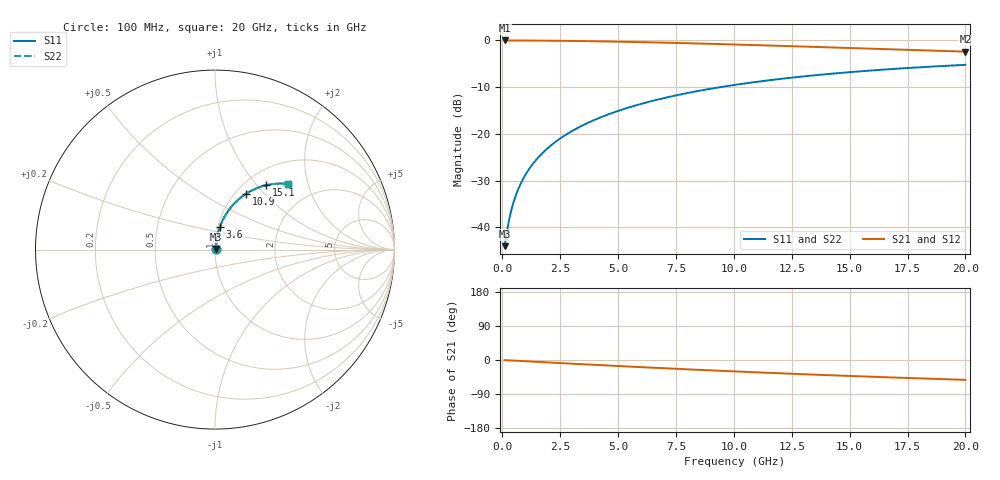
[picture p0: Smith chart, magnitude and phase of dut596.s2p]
! Touchstone file exported from HFSS 2024.1.0
!  File:  C:/UserFiles/LocalFiles/RDL_TSV_Batchsim/temp_RDL_top_596_1779682654.aedt
!  Generated:  12:20:27 PM May 25, 2026
!  Design:  RDL_top
!  Project:  temp_RDL_top_596_1779682654
!  Setup:  Setup1
!  Solution:  Sweep
! Variables:
!  dtsv = 10.80580581um
!  hbump = 3um
!  htsv = 89.95um
!  ldown = 100um
!  lrdl = 678.14um
!  p = 40
!  p1 = 58.52um
!  rhole = 1um
!  t = 450um
!  tdown = 3.915915916um
!  trdl = 3.44um
!  wdown = 15.38538539um
!  wrdl = 13.93um
# GHz S MA R 50.000000
! Terminal data exported
! Port[1] = Box2_T1
! Port[2] = Box2_T2
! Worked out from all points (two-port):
!   200 points, 100 MHz to 20 GHz, reference 50 ohm
!   highest |S21| = -0.04 dB at 100 MHz (marker M1); lowest = -2.4 dB at 20 GHz (marker M2)
!   |S21| within 3 dB of the highest: start of sweep to end of sweep
!   lowest |S11| = -44.0 dB at 100 MHz (marker M3), VSWR 1.01, Z = 50.5 + j0.374 ohm
!   |S11| at or under -10 dB: start of sweep to 9.447 GHz
!   |S22| runs from -44.0 to -5.3 dB; largest |S21 - S12| = 7.7e-15
!   S11 on the Smith chart (normalised r, x): 100 MHz: 1.01, +0.01; 3.6 GHz: 1.02, +0.26; 10.9 GHz: 1.12, +0.80; 15.1 GHz: 1.23, +1.12; 20 GHz: 1.44, +1.50
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0.1  0.006294 36.1  0.9949 -0.3  0.9949 -0.3  0.006294 36.1
! Gamma 0 0 0 0
! Port Impedance 50 0 50 0
0.2  0.009038 54.7  0.9948 -0.7  0.9948 -0.7  0.009038 54.7
0.3  0.01227 63.9  0.9946 -1.0  0.9946 -1.0  0.01227 63.9
0.4  0.01565 68.9  0.9944 -1.3  0.9944 -1.3  0.01565 68.9
0.5  0.01909 72.1  0.9942 -1.7  0.9942 -1.7  0.01909 72.1
0.6  0.02255 74.2  0.994 -2.0  0.994 -2.0  0.02255 74.2
0.8  0.0295 76.8  0.9935 -2.6  0.9935 -2.6  0.0295 76.8
1.1  0.03999 78.8  0.9927 -3.6  0.9927 -3.6  0.03999 78.8
1.5  0.05403 79.8  0.9914 -4.9  0.9914 -4.9  0.05403 79.8
2.1  0.07514 80.0  0.9888 -6.8  0.9888 -6.8  0.07513 79.9
2.7  0.0962 79.3  0.9854 -8.7  0.9854 -8.7  0.0962 79.3
3.5  0.1241 78.0  0.9797 -11.3  0.9797 -11.3  0.1241 78.0
3.6  0.1276 77.8  0.9789 -11.6  0.9789 -11.6  0.1276 77.8
5  0.1756 74.9  0.966 -15.9  0.966 -15.9  0.1755 74.8
6.8  0.2351 70.7  0.9453 -21.2  0.9453 -21.2  0.235 70.6
8.3  0.2821 67.0  0.9255 -25.5  0.9255 -25.5  0.282 67.0
10.1  0.3349 62.7  0.8998 -30.3  0.8998 -30.3  0.3347 62.7
10.9  0.357 60.9  0.888 -32.4  0.888 -32.4  0.3568 60.8
13.4  0.4201 55.2  0.8504 -38.5  0.8504 -38.5  0.4199 55.2
15.1  0.458 51.6  0.8249 -42.3  0.8249 -42.3  0.4577 51.5
16.7  0.49 48.3  0.8014 -45.8  0.8014 -45.8  0.4897 48.3
20  0.546 42.1  0.7554 -52.4  0.7554 -52.4  0.5456 42.0
